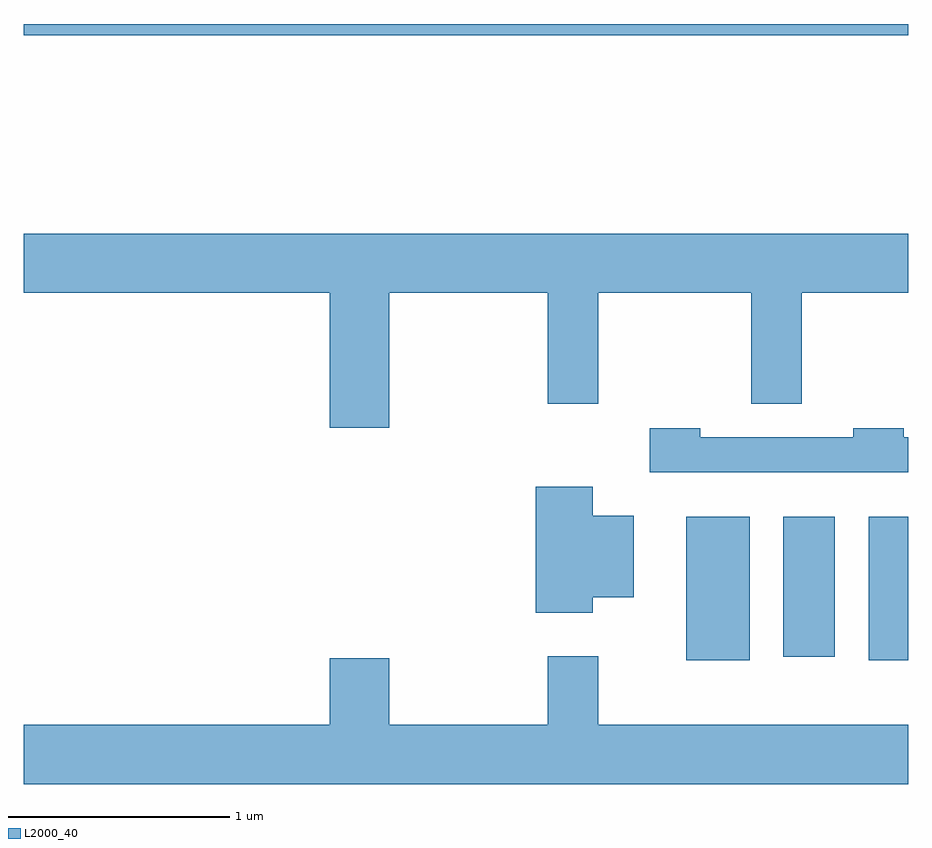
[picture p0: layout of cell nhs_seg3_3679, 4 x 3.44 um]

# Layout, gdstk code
import gdstk
lib = gdstk.Library(unit=1e-6, precision=1e-09)
def R(c, l, rs):  # rectangles x0, y0, x1, y1
    for r in rs: c.add(gdstk.rectangle(r[:2], r[2:], *l))
def P(c, l, *ps):  # polygons
    for p in ps: c.add(gdstk.Polygon(p, *l))
L2000_40 = (2000, 40)

nhs_seg3_3679 = lib.new_cell('nhs_seg3_3679')
R(nhs_seg3_3679, L2000_40, [(296.606,1131.016,296.894,1131.664), (297.431,1131.016,297.611,1131.664), (297.046,1131.031,297.279,1131.664), (293.611,1133.841,297.611,1133.892)])
P(nhs_seg3_3679, L2000_40, [(295.264,1132.676),(295.981,1132.676),(295.981,1132.176),(296.209,1132.176),(296.209,1132.676),(296.901,1132.676),(296.901,1132.176),(297.129,1132.176),(297.129,1132.676),(297.611,1132.676),(297.611,1132.944),(293.611,1132.944),(293.611,1132.676),(294.996,1132.676),(294.996,1132.066),(295.264,1132.066)],
  [(297.611,1132.024),(297.589,1132.024),(297.589,1132.064),(297.361,1132.064),(297.361,1132.024),(296.669,1132.024),(296.669,1132.064),(296.441,1132.064),(296.441,1131.866),(297.611,1131.866)],
  [(296.184,1131.301),(296.369,1131.301),(296.369,1131.669),(296.184,1131.669),(296.184,1131.799),(295.926,1131.799),(295.926,1131.231),(296.184,1131.231)],
  [(297.611,1130.724),(296.209,1130.724),(296.209,1131.034),(295.981,1131.034),(295.981,1130.724),(295.264,1130.724),(295.264,1131.024),(294.996,1131.024),(294.996,1130.724),(293.611,1130.724),(293.611,1130.456),(297.611,1130.456)])

lib.write_gds('nhs_seg3_3679.gds')
